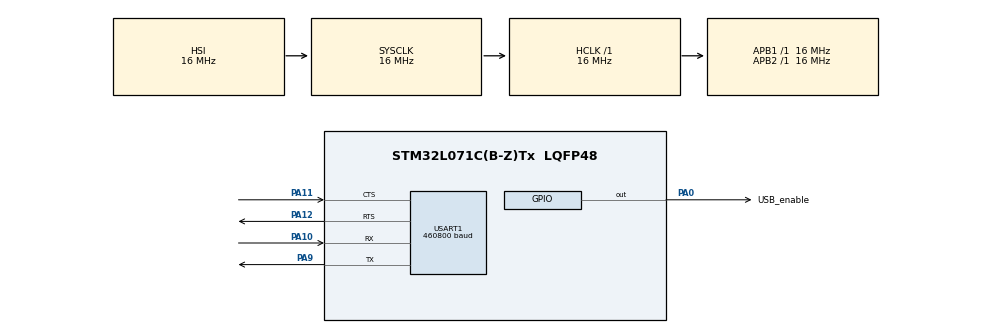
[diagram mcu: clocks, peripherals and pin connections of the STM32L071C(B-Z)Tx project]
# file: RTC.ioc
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Mcu.Family=STM32L0
Mcu.Name=STM32L071C(B-Z)Tx
Mcu.Package=LQFP48
NVIC.USART1_IRQn=true\:0\:0\:false\:false\:true\:true\:true\:true
PA0.GPIO_Label=USB_enable
PA0.PinState=GPIO_PIN_SET
PA0.Signal=GPIO_Output
PA10.Mode=Asynchronous
PA10.Signal=USART1_RX
PA11.Mode=CTS_RTS
PA11.Signal=USART1_CTS
PA12.Mode=CTS_RTS
PA12.Signal=USART1_RTS
PA13.Mode=Serial_Wire
PA13.Signal=SYS_SWDIO
PA14.Mode=Serial_Wire
PA14.Signal=SYS_SWCLK
PA9.Mode=Asynchronous
PA9.Signal=USART1_TX
ProjectManager.HeapSize=0x200
ProjectManager.StackSize=0x400
ProjectManager.TargetToolchain=STM32CubeIDE
RCC.AHBFreq_Value=16000000
RCC.APB1Freq_Value=16000000
RCC.APB1TimFreq_Value=16000000
RCC.APB2Freq_Value=16000000
RCC.APB2TimFreq_Value=16000000
RCC.HCLKFreq_Value=16000000
RCC.HSE_VALUE=8000000
RCC.HSI16_VALUE=16000000
RCC.HSI_VALUE=16000000
RCC.LSE_VALUE=32768
RCC.MSI_VALUE=2097000
RCC.SYSCLKFreq_VALUE=16000000
RCC.SYSCLKSource=RCC_SYSCLKSOURCE_HSI
RCC.Usart1ClockSelection=RCC_USART1CLKSOURCE_HSI
RCC.VCOOutputFreq_Value=48000000
RTC.AsynchPrediv=125
RTC.Format=RTC_FORMAT_BIN
RTC.SynchPrediv=323
USART1.BaudRate=460800
USART1.StopBits=STOPBITS_2
USART1.VirtualMode-Asynchronous=VM_ASYNC
VP_RTC_VS_RTC_Activate.Mode=RTC_Enabled
VP_RTC_VS_RTC_Calendar.Mode=RTC_Calendar
board=custom

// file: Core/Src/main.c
/* USER CODE BEGIN Header */
/**
  ******************************************************************************
  * @file           : main.c
  * @brief          : Main program body
  ******************************************************************************
  * @attention
  *
  * Copyright (c) 2022 STMicroelectronics.
  * All rights reserved.
  *
  * This software is licensed under terms that can be found in the LICENSE file
  * in the root directory of this software component.
  * If no LICENSE file comes with this software, it is provided AS-IS.
  *
  ******************************************************************************
  */
/* USER CODE END Header */
#include "main.h"

/* USER CODE BEGIN Includes */
#include "rtc.h"
#include "usbSerial.h"
#include "serialCommand.h"

/* USER CODE END Includes */

RTC_HandleTypeDef hrtc;

UART_HandleTypeDef huart1;

/* USER CODE BEGIN PV */
uint32_t rtc_time_start, sys_time_start, rtc_time_diff;
uint16_t syn_pred;
time_t correctTime;

/* USER CODE END PV */

void SystemClock_Config(void);
static void MX_GPIO_Init(void);
static void MX_RTC_Init(void);
static void MX_USART1_UART_Init(void);

int main(void)
{

  /* MCU Configuration--------------------------------------------------------*/

  /* Reset of all peripherals, Initializes the Flash interface and the Systick. */
  HAL_Init();

  /* Configure the system clock */
  SystemClock_Config();

  /* Initialize all configured peripherals */
  MX_GPIO_Init();
  MX_RTC_Init();
  MX_USART1_UART_Init();
  /* USER CODE BEGIN 2 */

  //Time_Init();
  Serial_Receive_Init();

  /* 08-03-2023 update */

  sys_time_start = HAL_GetTick();
  rtc_time_start = RTC_Get_Time();

  while(HAL_GetTick() - sys_time_start <= 60 * 1000)
  {

  }
  rtc_time_diff = RTC_Get_Time() - rtc_time_start;
  syn_pred = rtc_time_diff * 37000 / 60;

  __HAL_RTC_WRITEPROTECTION_DISABLE(&hrtc);
  RTC_EnterInitMode(&hrtc);

  hrtc.Instance-> PRER = 0x00630000 + syn_pred / 100;

  hrtc.Instance-> ISR &= ((uint32_t) RTC_ISR_INITS);
  __HAL_RTC_WRITEPROTECTION_ENABLE(&hrtc);

  /* 08-03-2023 update end */

  /* USER CODE END 2 */

  /* Infinite loop */
  while (1)
  {

  }
}

void SystemClock_Config(void)
{
  RCC_OscInitTypeDef RCC_OscInitStruct = {0};
  RCC_ClkInitTypeDef RCC_ClkInitStruct = {0};
  RCC_PeriphCLKInitTypeDef PeriphClkInit = {0};

  /** Configure the main internal regulator output voltage
  */
  __HAL_PWR_VOLTAGESCALING_CONFIG(PWR_REGULATOR_VOLTAGE_SCALE1);

  /** Initializes the RCC Oscillators according to the specified parameters
  * in the RCC_OscInitTypeDef structure.
  */
  RCC_OscInitStruct.OscillatorType = RCC_OSCILLATORTYPE_HSI|RCC_OSCILLATORTYPE_LSI;
  RCC_OscInitStruct.HSIState = RCC_HSI_ON;
  RCC_OscInitStruct.HSICalibrationValue = RCC_HSICALIBRATION_DEFAULT;
  RCC_OscInitStruct.LSIState = RCC_LSI_ON;
  RCC_OscInitStruct.PLL.PLLState = RCC_PLL_NONE;
  if (HAL_RCC_OscConfig(&RCC_OscInitStruct) != HAL_OK)
  {
    Error_Handler();
  }

  /** Initializes the CPU, AHB and APB buses clocks
  */
  RCC_ClkInitStruct.ClockType = RCC_CLOCKTYPE_HCLK|RCC_CLOCKTYPE_SYSCLK
                              |RCC_CLOCKTYPE_PCLK1|RCC_CLOCKTYPE_PCLK2;
  RCC_ClkInitStruct.SYSCLKSource = RCC_SYSCLKSOURCE_HSI;
  RCC_ClkInitStruct.AHBCLKDivider = RCC_SYSCLK_DIV1;
  RCC_ClkInitStruct.APB1CLKDivider = RCC_HCLK_DIV1;
  RCC_ClkInitStruct.APB2CLKDivider = RCC_HCLK_DIV1;

  if (HAL_RCC_ClockConfig(&RCC_ClkInitStruct, FLASH_LATENCY_0) != HAL_OK)
  {
    Error_Handler();
  }
  PeriphClkInit.PeriphClockSelection = RCC_PERIPHCLK_USART1|RCC_PERIPHCLK_RTC;
  PeriphClkInit.Usart1ClockSelection = RCC_USART1CLKSOURCE_HSI;
  PeriphClkInit.RTCClockSelection = RCC_RTCCLKSOURCE_LSI;
  if (HAL_RCCEx_PeriphCLKConfig(&PeriphClkInit) != HAL_OK)
  {
    Error_Handler();
  }
}

static void MX_RTC_Init(void)
{

  RTC_TimeTypeDef sTime = {0};
  RTC_DateTypeDef sDate = {0};

  /** Initialize RTC Only
  */
  hrtc.Instance = RTC;
  hrtc.Init.HourFormat = RTC_HOURFORMAT_24;
  hrtc.Init.AsynchPrediv = 125;
  hrtc.Init.SynchPrediv = 323;
  hrtc.Init.OutPut = RTC_OUTPUT_DISABLE;
  hrtc.Init.OutPutRemap = RTC_OUTPUT_REMAP_NONE;
  hrtc.Init.OutPutPolarity = RTC_OUTPUT_POLARITY_HIGH;
  hrtc.Init.OutPutType = RTC_OUTPUT_TYPE_OPENDRAIN;
  if (HAL_RTC_Init(&hrtc) != HAL_OK)
  {
    Error_Handler();
  }

  /** Initialize RTC and set the Time and Date
  */
  sTime.Hours = 0;
  sTime.Minutes = 0;
  sTime.Seconds = 0;
  sTime.DayLightSaving = RTC_DAYLIGHTSAVING_NONE;
  sTime.StoreOperation = RTC_STOREOPERATION_RESET;
  if (HAL_RTC_SetTime(&hrtc, &sTime, RTC_FORMAT_BIN) != HAL_OK)
  {
    Error_Handler();
  }
  sDate.WeekDay = RTC_WEEKDAY_MONDAY;
  sDate.Month = RTC_MONTH_JANUARY;
  sDate.Date = 1;
  sDate.Year = 0;

  if (HAL_RTC_SetDate(&hrtc, &sDate, RTC_FORMAT_BIN) != HAL_OK)
  {
    Error_Handler();
  }

}

static void MX_USART1_UART_Init(void)
{

  huart1.Instance = USART1;
  huart1.Init.BaudRate = 460800;
  huart1.Init.WordLength = UART_WORDLENGTH_8B;
  huart1.Init.StopBits = UART_STOPBITS_2;
  huart1.Init.Parity = UART_PARITY_NONE;
  huart1.Init.Mode = UART_MODE_TX_RX;
  huart1.Init.HwFlowCtl = UART_HWCONTROL_RTS_CTS;
  huart1.Init.OverSampling = UART_OVERSAMPLING_16;
  huart1.Init.OneBitSampling = UART_ONE_BIT_SAMPLE_DISABLE;
  huart1.AdvancedInit.AdvFeatureInit = UART_ADVFEATURE_NO_INIT;
  if (HAL_UART_Init(&huart1) != HAL_OK)
  {
    Error_Handler();
  }

}

static void MX_GPIO_Init(void)
{
  GPIO_InitTypeDef GPIO_InitStruct = {0};

  /* GPIO Ports Clock Enable */
  __HAL_RCC_GPIOA_CLK_ENABLE();

  /*Configure GPIO pin Output Level */
  HAL_GPIO_WritePin(USB_enable_GPIO_Port, USB_enable_Pin, GPIO_PIN_SET);

  /*Configure GPIO pin : USB_enable_Pin */
  GPIO_InitStruct.Pin = USB_enable_Pin;
  GPIO_InitStruct.Mode = GPIO_MODE_OUTPUT_PP;
  GPIO_InitStruct.Pull = GPIO_NOPULL;
  GPIO_InitStruct.Speed = GPIO_SPEED_FREQ_LOW;
  HAL_GPIO_Init(USB_enable_GPIO_Port, &GPIO_InitStruct);

}

void Error_Handler(void)
{
  __disable_irq();
  while (1)
  {
  }
}
